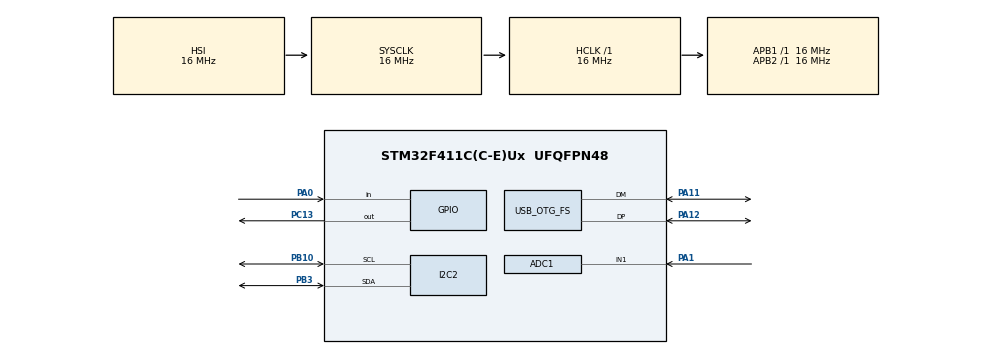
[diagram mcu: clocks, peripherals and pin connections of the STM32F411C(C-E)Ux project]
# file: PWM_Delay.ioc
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ADC1.Channel-0\#ChannelRegularConversion=ADC_CHANNEL_1
ADC1.ClockPrescaler=ADC_CLOCK_SYNC_PCLK_DIV4
ADC1.ContinuousConvMode=DISABLE
ADC1.NbrOfConversionFlag=1
ADC1.Rank-0\#ChannelRegularConversion=1
ADC1.SamplingTime-0\#ChannelRegularConversion=ADC_SAMPLETIME_3CYCLES
ADC1.master=1
I2C2.I2C_Mode=I2C_Fast
Mcu.Family=STM32F4
Mcu.Name=STM32F411C(C-E)Ux
Mcu.Package=UFQFPN48
NVIC.OTG_FS_IRQn=true\:0\:0\:false\:false\:true\:false\:true\:true
NVIC.PriorityGroup=NVIC_PRIORITYGROUP_4
PA0-WKUP.GPIO_PuPd=GPIO_PULLUP
PA0-WKUP.Signal=GPIO_Input
PA1.Signal=ADCx_IN1
PA11.Mode=Device_Only
PA11.Signal=USB_OTG_FS_DM
PA12.Mode=Device_Only
PA12.Signal=USB_OTG_FS_DP
PA13.Mode=Serial_Wire
PA13.Signal=SYS_JTMS-SWDIO
PA14.Mode=Serial_Wire
PA14.Signal=SYS_JTCK-SWCLK
PB10.GPIO_Pu=GPIO_PULLUP
PB10.Mode=I2C
PB10.Signal=I2C2_SCL
PB3.GPIO_Pu=GPIO_PULLUP
PB3.Mode=I2C
PB3.Signal=I2C2_SDA
PC13-ANTI_TAMP.GPIO_PuPd=GPIO_PULLUP
PC13-ANTI_TAMP.Signal=GPIO_Output
PC14-OSC32_IN.Mode=LSE-External-Oscillator
PC14-OSC32_IN.Signal=RCC_OSC32_IN
PC15-OSC32_OUT.Mode=LSE-External-Oscillator
PC15-OSC32_OUT.Signal=RCC_OSC32_OUT
PH0\ -\ OSC_IN.Mode=HSE-External-Oscillator
PH0\ -\ OSC_IN.Signal=RCC_OSC_IN
PH1\ -\ OSC_OUT.Mode=HSE-External-Oscillator
PH1\ -\ OSC_OUT.Signal=RCC_OSC_OUT
ProjectManager.HeapSize=0x200
ProjectManager.StackSize=0x400
ProjectManager.TargetToolchain=STM32CubeIDE
RCC.48MHZClocksFreq_Value=48000000
RCC.AHBFreq_Value=16000000
RCC.APB1Freq_Value=16000000
RCC.APB2Freq_Value=16000000
RCC.CortexFreq_Value=16000000
RCC.HSE_VALUE=25000000
RCC.HSI_VALUE=16000000
RCC.PLLM=15
RCC.PLLN=144
RCC.PLLQ=5
RCC.PLLSourceVirtual=RCC_PLLSOURCE_HSE
RCC.SYSCLKFreq_VALUE=16000000
RCC.VCOOutputFreq_Value=240000000
SH.ADCx_IN1.0=ADC1_IN1,IN1
USB_DEVICE.CLASS_NAME_FS=CDC
USB_DEVICE.VirtualMode=Cdc
USB_DEVICE.VirtualModeFS=Cdc_FS
USB_OTG_FS.VirtualMode=Device_Only
VP_USB_DEVICE_VS_USB_DEVICE_CDC_FS.Mode=CDC_FS
board=custom

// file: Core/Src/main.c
/* USER CODE BEGIN Header */
/**
 ******************************************************************************
 * @file           : main.c
 * @brief          : Main program body
 ******************************************************************************
 * @attention
 *
 * Copyright (c) 2024 STMicroelectronics.
 * All rights reserved.
 *
 * This software is licensed under terms that can be found in the LICENSE file
 * in the root directory of this software component.
 * If no LICENSE file comes with this software, it is provided AS-IS.
 *
 ******************************************************************************
 */
/* USER CODE END Header */
#include "main.h"
#include "usb_device.h"

/* USER CODE BEGIN Includes */
#include <math.h>

/* USER CODE END Includes */

/* USER CODE BEGIN PD */
#define ZEROSCAlE 0
#define MIDSCALE 1861
#define FULLSCALE 4095
#define ADCRES 12
/* USER CODE END PD */

ADC_HandleTypeDef hadc1;

I2C_HandleTypeDef hi2c2;

/* USER CODE BEGIN PV */
int counts, adcValue;
int ton, toff;
double voltsOn;
double voltsOff;
char buffer[32];
uint8_t bufon[2]; // = { 0x07, 0xff };
uint8_t bufoff[2] = { 0x00, 0x00 };
uint8_t buf[2];
GPIO_PinState pinState;

/* USER CODE END PV */

void SystemClock_Config(void);
static void MX_GPIO_Init(void);
static void MX_ADC1_Init(void);
static void MX_I2C2_Init(void);
/* USER CODE BEGIN PFP */
uint32_t readADCValue(void);
extern uint8_t CDC_Transmit_FS(uint8_t *Buf, uint16_t Len);
double count2volt(int res, int count);
/* USER CODE END PFP */

int main(void) {

	/* MCU Configuration--------------------------------------------------------*/

	/* Reset of all peripherals, Initializes the Flash interface and the Systick. */
	HAL_Init();

	/* USER CODE BEGIN Init */
	//HAL_StatusTypeDef RET;
	/* USER CODE END Init */

	/* Configure the system clock */
	SystemClock_Config();

	/* Initialize all configured peripherals */
	MX_GPIO_Init();
	MX_ADC1_Init();
	MX_I2C2_Init();
	MX_USB_DEVICE_Init();
	/* USER CODE BEGIN 2 */
	//HAL_ADC_Start_IT(&hadc1);
	/* USER CODE END 2 */

	/* Infinite loop */
	/* USER CODE BEGIN WHILE */

	// generateSineWave();

	while (1) {

		pinState = HAL_GPIO_ReadPin(GPIOA, GPIO_PIN_0);

		if (pinState == GPIO_PIN_RESET) {
			bufon[0] = FULLSCALE >> 8;
			bufon[1] = FULLSCALE;
		}
		else {
			bufon[0] = MIDSCALE >> 8;
			bufon[1] = MIDSCALE;
		}

		if (HAL_I2C_Master_Transmit(&hi2c2, (0x60 << 1), bufon, 2, 50) == HAL_OK) {
			adcValue = readADCValue();
		}
		voltsOn = count2volt(ADCRES, adcValue);
		ton = 80 * adcValue / 4096 + 10;
		toff = 100 - ton;
		sprintf(buffer, "%.3f\r\n", voltsOn);
		CDC_Transmit_FS(buffer, sizeof(buffer));
		HAL_Delay(ton);

		if (HAL_I2C_Master_Transmit(&hi2c2, (0x60 << 1), bufoff, 2, 50) == HAL_OK) {
			adcValue = readADCValue();
		}
		voltsOff = count2volt(ADCRES, adcValue);
		sprintf(buffer, "%.3f\r\n", voltsOff);
		CDC_Transmit_FS(buffer, sizeof(buffer));
		HAL_Delay(100 - ton);

		/* USER CODE END WHILE */

	}
}

void SystemClock_Config(void) {
	RCC_OscInitTypeDef RCC_OscInitStruct = { 0 };
	RCC_ClkInitTypeDef RCC_ClkInitStruct = { 0 };

	/** Configure the main internal regulator output voltage
	 */
	__HAL_RCC_PWR_CLK_ENABLE();
	__HAL_PWR_VOLTAGESCALING_CONFIG(PWR_REGULATOR_VOLTAGE_SCALE1);

	/** Initializes the RCC Oscillators according to the specified parameters
	 * in the RCC_OscInitTypeDef structure.
	 */
	RCC_OscInitStruct.OscillatorType = RCC_OSCILLATORTYPE_HSI
			| RCC_OSCILLATORTYPE_HSE;
	RCC_OscInitStruct.HSEState = RCC_HSE_ON;
	RCC_OscInitStruct.HSIState = RCC_HSI_ON;
	RCC_OscInitStruct.HSICalibrationValue = RCC_HSICALIBRATION_DEFAULT;
	RCC_OscInitStruct.PLL.PLLState = RCC_PLL_ON;
	RCC_OscInitStruct.PLL.PLLSource = RCC_PLLSOURCE_HSE;
	RCC_OscInitStruct.PLL.PLLM = 15;
	RCC_OscInitStruct.PLL.PLLN = 144;
	RCC_OscInitStruct.PLL.PLLP = RCC_PLLP_DIV2;
	RCC_OscInitStruct.PLL.PLLQ = 5;
	if (HAL_RCC_OscConfig(&RCC_OscInitStruct) != HAL_OK) {
		Error_Handler();
	}

	/** Initializes the CPU, AHB and APB buses clocks
	 */
	RCC_ClkInitStruct.ClockType = RCC_CLOCKTYPE_HCLK | RCC_CLOCKTYPE_SYSCLK
			| RCC_CLOCKTYPE_PCLK1 | RCC_CLOCKTYPE_PCLK2;
	RCC_ClkInitStruct.SYSCLKSource = RCC_SYSCLKSOURCE_HSI;
	RCC_ClkInitStruct.AHBCLKDivider = RCC_SYSCLK_DIV1;
	RCC_ClkInitStruct.APB1CLKDivider = RCC_HCLK_DIV1;
	RCC_ClkInitStruct.APB2CLKDivider = RCC_HCLK_DIV1;

	if (HAL_RCC_ClockConfig(&RCC_ClkInitStruct, FLASH_LATENCY_0) != HAL_OK) {
		Error_Handler();
	}
}

static void MX_ADC1_Init(void) {

	ADC_ChannelConfTypeDef sConfig = { 0 };

	/** Configure the global features of the ADC (Clock, Resolution, Data Alignment and number of conversion)
	 */
	hadc1.Instance = ADC1;
	hadc1.Init.ClockPrescaler = ADC_CLOCK_SYNC_PCLK_DIV4;
	hadc1.Init.Resolution = ADC_RESOLUTION_12B;
	hadc1.Init.ScanConvMode = DISABLE;
	hadc1.Init.ContinuousConvMode = DISABLE;
	hadc1.Init.DiscontinuousConvMode = DISABLE;
	hadc1.Init.ExternalTrigConvEdge = ADC_EXTERNALTRIGCONVEDGE_NONE;
	hadc1.Init.ExternalTrigConv = ADC_SOFTWARE_START;
	hadc1.Init.DataAlign = ADC_DATAALIGN_RIGHT;
	hadc1.Init.NbrOfConversion = 1;
	hadc1.Init.DMAContinuousRequests = DISABLE;
	hadc1.Init.EOCSelection = ADC_EOC_SINGLE_CONV;
	if (HAL_ADC_Init(&hadc1) != HAL_OK) {
		Error_Handler();
	}

	/** Configure for the selected ADC regular channel its corresponding rank in the sequencer and its sample time.
	 */
	sConfig.Channel = ADC_CHANNEL_1;
	sConfig.Rank = 1;
	sConfig.SamplingTime = ADC_SAMPLETIME_3CYCLES;
	if (HAL_ADC_ConfigChannel(&hadc1, &sConfig) != HAL_OK) {
		Error_Handler();
	}

}

static void MX_I2C2_Init(void) {

	hi2c2.Instance = I2C2;
	hi2c2.Init.ClockSpeed = 400000;
	hi2c2.Init.DutyCycle = I2C_DUTYCYCLE_2;
	hi2c2.Init.OwnAddress1 = 0;
	hi2c2.Init.AddressingMode = I2C_ADDRESSINGMODE_7BIT;
	hi2c2.Init.DualAddressMode = I2C_DUALADDRESS_DISABLE;
	hi2c2.Init.OwnAddress2 = 0;
	hi2c2.Init.GeneralCallMode = I2C_GENERALCALL_DISABLE;
	hi2c2.Init.NoStretchMode = I2C_NOSTRETCH_DISABLE;
	if (HAL_I2C_Init(&hi2c2) != HAL_OK) {
		Error_Handler();
	}

}

static void MX_GPIO_Init(void) {
	GPIO_InitTypeDef GPIO_InitStruct = { 0 };

	/* GPIO Ports Clock Enable */
	__HAL_RCC_GPIOC_CLK_ENABLE();
	__HAL_RCC_GPIOH_CLK_ENABLE();
	__HAL_RCC_GPIOA_CLK_ENABLE();
	__HAL_RCC_GPIOB_CLK_ENABLE();

	/*Configure GPIO pin Output Level */
	HAL_GPIO_WritePin(GPIOC, GPIO_PIN_13, GPIO_PIN_RESET);

	/*Configure GPIO pin : PC13 */
	GPIO_InitStruct.Pin = GPIO_PIN_13;
	GPIO_InitStruct.Mode = GPIO_MODE_OUTPUT_PP;
	GPIO_InitStruct.Pull = GPIO_PULLUP;
	GPIO_InitStruct.Speed = GPIO_SPEED_FREQ_LOW;
	HAL_GPIO_Init(GPIOC, &GPIO_InitStruct);

	/*Configure GPIO pin : PA0 */
	GPIO_InitStruct.Pin = GPIO_PIN_0;
	GPIO_InitStruct.Mode = GPIO_MODE_INPUT;
	GPIO_InitStruct.Pull = GPIO_PULLUP;
	HAL_GPIO_Init(GPIOA, &GPIO_InitStruct);

}

/* USER CODE BEGIN 4 */
/*void HAL_ADC_ConvCpltCallback(ADC_HandleTypeDef *hadc1) {
 adcValue = HAL_ADC_GetValue(hadc1);
 //ton=(((80*adcValue)/4095)+10);
 //toff=100-ton;
 HAL_ADC_Stop_IT(hadc1);
 }*/

uint32_t readADCValue(void) {
	uint32_t adc_value = 0;

	// Inicia a conversão do ADC de forma síncrona
	if (HAL_ADC_Start(&hadc1) == HAL_OK) {
		// Espera até que a conversão seja concluída
		if (HAL_ADC_PollForConversion(&hadc1, 100) == HAL_OK) {
			// Obtém o valor convertido
			adc_value = HAL_ADC_GetValue(&hadc1);
		}
		// Stop ADC to save power and resources
		HAL_ADC_Stop(&hadc1);
	}

	return adc_value;
}

/* USER CODE END 4 */

void Error_Handler(void) {
	__disable_irq();
	while (1) {
	}
}
